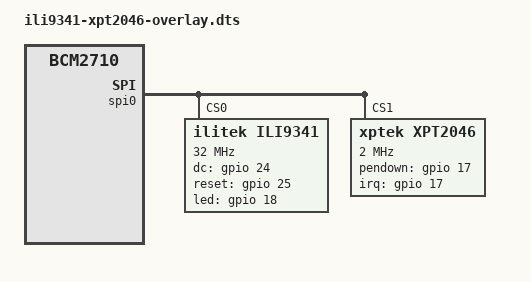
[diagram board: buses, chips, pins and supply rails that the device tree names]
// SPDX-License-Identifier: GPL-2.0-only
// Copyright (c) 2025-2026 TungNHS

/dts-v1/;
/plugin/;

/ {
    compatible = "brcm,bcm2837", "brcm,bcm2710";

    fragment@0 {
        target = <&spi0>;
        __overlay__ {
            status = "okay";
            #address-cells = <1>;
            #size-cells = <0>;

            /delete-node/ spidev@0;
            /delete-node/ spidev@1;

            ili9341: ili9341@0 {
                compatible = "ilitek,ili9341";
                reg = <0>;

                spi-max-frequency = <32000000>;

                dc-gpios = <&gpio 24 0>;
                reset-gpios = <&gpio 25 0>;
                led-gpios = <&gpio 18 0>;

                rotation = <90>;
                fps = <30>;

                status = "okay";
            };

            xpt2046: xpt2046@1 {
                compatible = "xptek,xpt2046";
                reg = <1>;

                spi-max-frequency = <2000000>;

                /* PENIRQ is active low and triggers the polling work. */
                interrupt-parent = <&gpio>;
                interrupts = <17 2>;
                pendown-gpios = <&gpio 17 0>;

                ti,x-min = <200>;
                ti,x-max = <3900>;
                ti,y-min = <200>;
                ti,y-max = <3900>;
                ti,pressure-min = <30>;
                ti,pressure-max = <255>;

                ti,swap-xy;
                ti,invert-x;
                ti,invert-y;

                status = "okay";
            };
        };
    };

    fragment@1 {
        target = <&gpio>;
        __overlay__ {
            ili9341_pins: ili9341_pins {
                brcm,pins = <24 25 18>;
                brcm,function = <1 1 1>;
                brcm,pull = <0 0 0>;
            };

            xpt2046_pins: xpt2046_pins {
                brcm,pins = <17>;
                brcm,function = <0>;
                brcm,pull = <2>;
            };
        };
    };

    __overrides__ {
        speed = <&ili9341>,"spi-max-frequency:0";
        rotation = <&ili9341>,"rotation:0";
        fps = <&ili9341>,"fps:0";
        touch_speed = <&xpt2046>,"spi-max-frequency:0";
    };
};
